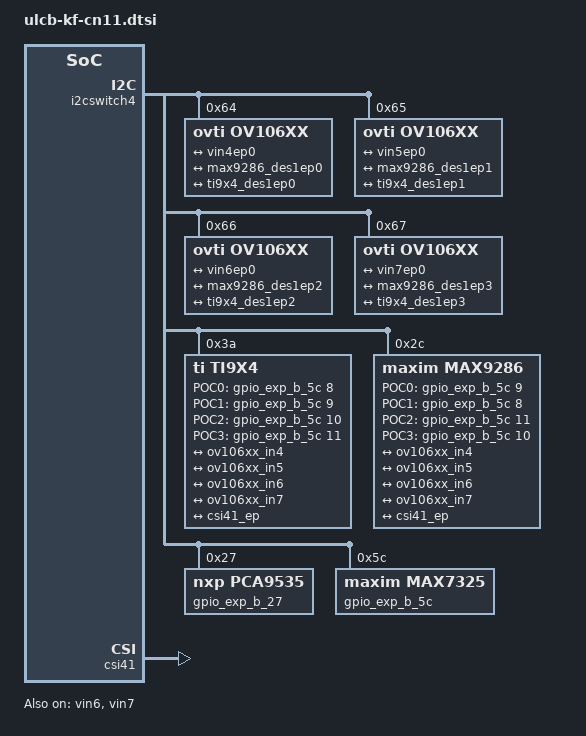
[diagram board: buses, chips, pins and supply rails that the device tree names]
/*
 * Device Tree Source for the H3ULCB Kingfisher board:
 *  this adding conflicting resource on VIN4/VIN5/VIN6/VIN7 for CN11
 *  use CN11 instead default CN29/CN48
 *
 * Copyright (C) 2017 Renesas Electronics Corp.
 * Copyright (C) 2017 Cogent Embedded, Inc.
 *
 * This file is licensed under the terms of the GNU General Public License
 * version 2.  This program is licensed "as is" without any warranty of any
 * kind, whether express or implied.
 */

&i2cswitch4 {
	i2c@2 {
		#address-cells = <1>;
		#size-cells = <0>;
		reg = <2>;
		/* Slot B (CN11) */

		ov106xx@4 {
			compatible = "ovti,ov106xx";
			reg = <0x64>;

			port@0 {
				ov106xx_in4: endpoint {
					clock-lanes = <0>;
					data-lanes = <1 2 3 4>;
					remote-endpoint = <&vin4ep0>;
				};
			};
			port@1 {
				ov106xx_max9286_des1ep0: endpoint@0 {
					remote-endpoint = <&max9286_des1ep0>;
				};
				ov106xx_ti9x4_des1ep0: endpoint@1 {
					remote-endpoint = <&ti9x4_des1ep0>;
				};
			};
		};

		ov106xx@5 {
			compatible = "ovti,ov106xx";
			reg = <0x65>;

			port@0 {
				ov106xx_in5: endpoint {
					clock-lanes = <0>;
					data-lanes = <1 2 3 4>;
					remote-endpoint = <&vin5ep0>;
				};
			};
			port@1 {
				ov106xx_max9286_des1ep1: endpoint@0 {
					remote-endpoint = <&max9286_des1ep1>;
				};
				ov106xx_ti9x4_des1ep1: endpoint@1 {
					remote-endpoint = <&ti9x4_des1ep1>;
				};
			};
		};

		ov106xx@6 {
			compatible = "ovti,ov106xx";
			reg = <0x66>;
				port@0 {
				ov106xx_in6: endpoint {
					clock-lanes = <0>;
					data-lanes = <1 2 3 4>;
					remote-endpoint = <&vin6ep0>;
				};
			};
			port@1 {
				ov106xx_max9286_des1ep2: endpoint@0 {
					remote-endpoint = <&max9286_des1ep2>;
				};
				ov106xx_ti9x4_des1ep2: endpoint@1 {
					remote-endpoint = <&ti9x4_des1ep2>;
				};
			};
		};

		ov106xx@7 {
			compatible = "ovti,ov106xx";
			reg = <0x67>;
				port@0 {
				ov106xx_in7: endpoint {
					clock-lanes = <0>;
					data-lanes = <1 2 3 4>;
					remote-endpoint = <&vin7ep0>;
				};
			};
			port@1 {
				ov106xx_max9286_des1ep3: endpoint@0 {
					remote-endpoint = <&max9286_des1ep3>;
				};
				ov106xx_ti9x4_des1ep3: endpoint@1 {
					remote-endpoint = <&ti9x4_des1ep3>;
				};
			};
		};

		/* DS90UB9x4 @ 0x3a */
		ti9x4@1 {
			compatible = "ti,ti9x4";
			reg = <0x3a>;
			ti,sensor_delay = <350>;
			ti,links = <4>;
			ti,lanes = <4>;
			ti,forwarding-mode = "round-robin";
			ti,cable-mode = "coax";

			POC0-gpios = <&gpio_exp_b_5c 8 GPIO_ACTIVE_HIGH>;
			POC1-gpios = <&gpio_exp_b_5c 9 GPIO_ACTIVE_HIGH>;
			POC2-gpios = <&gpio_exp_b_5c 10 GPIO_ACTIVE_HIGH>;
			POC3-gpios = <&gpio_exp_b_5c 11 GPIO_ACTIVE_HIGH>;

			port@0 {
				ti9x4_des1ep0: endpoint@0 {
					ti9x3-addr = <0x0c>;
					dvp-order = <0>;
					remote-endpoint = <&ov106xx_in4>;
				};
				ti9x4_des1ep1: endpoint@1 {
					ti9x3-addr = <0x0d>;
					dvp-order = <0>;
					remote-endpoint = <&ov106xx_in5>;
				};
				ti9x4_des1ep2: endpoint@2 {
					ti9x3-addr = <0x0e>;
					dvp-order = <0>;
					remote-endpoint = <&ov106xx_in6>;
				};
				ti9x4_des1ep3: endpoint@3 {
					ti9x3-addr = <0x0f>;
					dvp-order = <0>;
					remote-endpoint = <&ov106xx_in7>;
				};
			};
			port@1 {
				ti9x4_csi2ep0: endpoint {
					csi-rate = <1450>;
					remote-endpoint = <&csi41_ep>;
				};
			};
		};

		/* MAX9286 @ 0x2c */
		max9286@1 {
			compatible = "maxim,max9286";
			reg = <0x2c>;
			maxim,sensor_delay = <350>;
			maxim,links = <4>;
			maxim,lanes = <4>;
			maxim,resetb-gpio = <1>;
			maxim,fsync-mode = "automatic";
			maxim,timeout = <100>;

			POC0-gpios = <&gpio_exp_b_5c 9 GPIO_ACTIVE_HIGH>;
			POC1-gpios = <&gpio_exp_b_5c 8 GPIO_ACTIVE_HIGH>;
			POC2-gpios = <&gpio_exp_b_5c 11 GPIO_ACTIVE_HIGH>;
			POC3-gpios = <&gpio_exp_b_5c 10 GPIO_ACTIVE_HIGH>;

			port@0 {
				max9286_des1ep0: endpoint@0 {
					max9271-addr = <0x50>;
					dvp-order = <1>;
					remote-endpoint = <&ov106xx_in4>;
				};
				max9286_des1ep1: endpoint@1 {
					max9271-addr = <0x51>;
					dvp-order = <1>;
					remote-endpoint = <&ov106xx_in5>;
				};
				max9286_des1ep2: endpoint@2 {
					max9271-addr = <0x52>;
					dvp-order = <1>;
					remote-endpoint = <&ov106xx_in6>;
				};
				max9286_des1ep3: endpoint@3 {
					max9271-addr = <0x53>;
					dvp-order = <1>;
					remote-endpoint = <&ov106xx_in7>;
				};
			};
			port@1 {
				max9286_csi2ep0: endpoint {
					csi-rate = <700>;
					remote-endpoint = <&csi41_ep>;
				};
			};
		};
	};

	i2c@6 {
		#address-cells = <1>;
		#size-cells = <0>;
		reg = <6>;
		/* Slot B (CN11) */

		/* PCA9535 is a redundand/deprecated card */
		gpio_exp_b_27: gpio@27 {
			compatible = "nxp,pca9535";
			reg = <0x27>;
			gpio-controller;
			#gpio-cells = <2>;

			video_b_des_cfg1 {
				gpio-hog;
				gpios = <5 GPIO_ACTIVE_HIGH>;
				input;
				line-name = "Video-B cfg1";
			};
			video_b_des_cfg0 {
				gpio-hog;
				gpios = <6 GPIO_ACTIVE_HIGH>;
				input;
				line-name = "Video-B cfg0";
			};
			video_b_pwr_shdn {
				gpio-hog;
				gpios = <3 GPIO_ACTIVE_HIGH>;
				output-high;
				line-name = "Video-B PWR_SHDN";
			};
			video_b_cam_pwr0 {
				gpio-hog;
				gpios = <12 GPIO_ACTIVE_HIGH>;
				output-high;
				line-name = "Video-B PWR0";
			};
			video_b_cam_pwr1 {
				gpio-hog;
				gpios = <13 GPIO_ACTIVE_HIGH>;
				output-high;
				line-name = "Video-B PWR1";
			};
			video_b_cam_pwr2 {
				gpio-hog;
				gpios = <14 GPIO_ACTIVE_HIGH>;
				output-high;
				line-name = "Video-B PWR2";
			};
			video_b_cam_pwr3 {
				gpio-hog;
				gpios = <15 GPIO_ACTIVE_HIGH>;
				output-high;
				line-name = "Video-B PWR3";
			};
			video_b_des_shdn {
				gpio-hog;
				gpios = <4 GPIO_ACTIVE_HIGH>;
				output-high;
				line-name = "Video-B DES_SHDN";
			};
			video_b_des_led {
				gpio-hog;
				gpios = <7 GPIO_ACTIVE_HIGH>;
				output-low;
				line-name = "Video-B led";
			};
		};

		gpio_exp_b_5c: gpio@5c {
			compatible = "maxim,max7325";
			reg = <0x5c>;
			gpio-controller;
			#gpio-cells = <2>;

			video_b_des_cfg2 {
				gpio-hog;
				gpios = <4 GPIO_ACTIVE_HIGH>;
				input;
				line-name = "Video-B cfg2";
			};
			video_b_des_cfg1 {
				gpio-hog;
				gpios = <6 GPIO_ACTIVE_HIGH>;
				input;
				line-name = "Video-B cfg1";
			};
			video_b_des_cfg0 {
				gpio-hog;
				gpios = <7 GPIO_ACTIVE_HIGH>;
				input;
				line-name = "Video-B cfg0";
			};
			video_b_pwr_shdn {
				gpio-hog;
				gpios = <14 GPIO_ACTIVE_HIGH>;
				output-high;
				line-name = "Video-B PWR_SHDN";
			};
			video_b_des_shdn {
				gpio-hog;
				gpios = <13 GPIO_ACTIVE_HIGH>;
				output-high;
				line-name = "Video-B DES_SHDN";
			};
			video_b_led {
				gpio-hog;
				gpios = <12 GPIO_ACTIVE_HIGH>;
				output-low;
				line-name = "Video-B LED";
			};
		};
	};
};

&vin4 {
	ports {
		#address-cells = <1>;
		#size-cells = <0>;

		port@0 {
			vin4ep0: endpoint {
				csi,select = "csi41";
				virtual,channel = <0>;
				remote-endpoint = <&ov106xx_in4>;
				data-lanes = <1 2 3 4>;
			};
		};
		port@1 {
			csi2ep0: endpoint {
				remote-endpoint = <&csi41_ep>;
			};
		};
		port@2 {
			vin4_max9286_des1ep0: endpoint@0 {
				remote-endpoint = <&max9286_des1ep0>;
			};
			vin4_ti9x4_des1ep0: endpoint@1 {
				remote-endpoint = <&ti9x4_des1ep0>;
			};
		};
	};
};

&vin5 {
	ports {
		#address-cells = <1>;
		#size-cells = <0>;

		port@0 {
			vin5ep0: endpoint@0 {
				csi,select = "csi41";
				virtual,channel = <1>;
				remote-endpoint = <&ov106xx_in5>;
				data-lanes = <1 2 3 4>;
			};
		};
		port@1 {
			csi2ep1: endpoint {
				remote-endpoint = <&csi41_ep>;
			};
		};
		port@2 {
			vin5_max9286_des1ep1: endpoint@0 {
				remote-endpoint = <&max9286_des1ep1>;
			};
			vin5_ti9x4_des1ep1: endpoint@1 {
				remote-endpoint = <&ti9x4_des1ep1>;
			};
		};
	};
};

&vin6 {
	status = "okay";

	ports {
		#address-cells = <1>;
		#size-cells = <0>;

		port@0 {
			vin6ep0: endpoint@0 {
				csi,select = "csi41";
				virtual,channel = <2>;
				remote-endpoint = <&ov106xx_in6>;
				data-lanes = <1 2 3 4>;
			};
		};
		port@1 {
			csi2ep2: endpoint {
				remote-endpoint = <&csi41_ep>;
			};
		};
		port@2 {
			vin6_max9286_des1ep2: endpoint@0 {
				remote-endpoint = <&max9286_des1ep2>;
			};
			vin6_ti9x4_des1ep2: endpoint@1 {
				remote-endpoint = <&ti9x4_des1ep2>;
			};
		};
	};
};

&vin7 {
	status = "okay";

	ports {
		#address-cells = <1>;
		#size-cells = <0>;

		port@0 {
			vin7ep0: endpoint@0 {
				csi,select = "csi41";
				virtual,channel = <3>;
				remote-endpoint = <&ov106xx_in7>;
				data-lanes = <1 2 3 4>;
			};
		};
		port@1 {
			csi2ep3: endpoint {
				remote-endpoint = <&csi41_ep>;
			};
		};
		port@2 {
			vin7_max9286_des1ep3: endpoint@0 {
				remote-endpoint = <&max9286_des1ep3>;
			};
			vin7_ti9x4_des1ep3: endpoint@1 {
				remote-endpoint = <&ti9x4_des1ep3>;
			};
		};
	};
};

&csi41 {
	status = "okay";

	virtual,channel {
		csi2_vc0 {
			data,type = "ycbcr422";
			receive,vc = <0>;
		};
		csi2_vc1 {
			data,type = "ycbcr422";
			receive,vc = <1>;
		};
		csi2_vc2 {
			data,type = "ycbcr422";
			receive,vc = <2>;
		};
		csi2_vc3 {
			data,type = "ycbcr422";
			receive,vc = <3>;
		};
	};

	port {
		#address-cells = <1>;
		#size-cells = <0>;

		csi41_ep: endpoint {
			clock-lanes = <0>;
			data-lanes = <1 2 3 4>;
			csi-rate = <300>;
		};
	};
};
